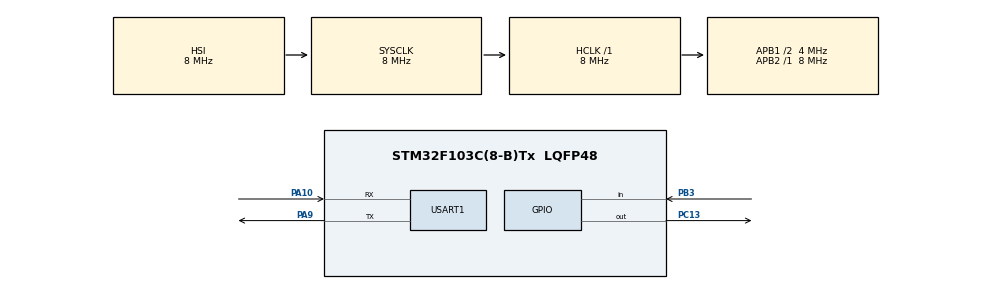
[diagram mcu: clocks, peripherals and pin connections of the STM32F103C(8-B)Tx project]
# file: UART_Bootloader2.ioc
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Mcu.Family=STM32F1
Mcu.Name=STM32F103C(8-B)Tx
Mcu.Package=LQFP48
NVIC.PriorityGroup=NVIC_PRIORITYGROUP_4
NVIC.USART1_IRQn=true\:0\:0\:false\:false\:true\:true\:true\:true
PA10.Mode=Asynchronous
PA10.Signal=USART1_RX
PA9.Mode=Asynchronous
PA9.Signal=USART1_TX
PB3.GPIO_PuPd=GPIO_PULLUP
PB3.Signal=GPIO_Input
PC13-TAMPER-RTC.Signal=GPIO_Output
PD0-OSC_IN.Mode=HSE-External-Oscillator
PD0-OSC_IN.Signal=RCC_OSC_IN
PD1-OSC_OUT.Mode=HSE-External-Oscillator
PD1-OSC_OUT.Signal=RCC_OSC_OUT
ProjectManager.HeapSize=0x200
ProjectManager.StackSize=0x400
ProjectManager.TargetToolchain=STM32CubeIDE
RCC.AHBFreq_Value=8000000
RCC.APB1CLKDivider=RCC_HCLK_DIV2
RCC.APB1Freq_Value=4000000
RCC.APB1TimFreq_Value=8000000
RCC.APB2Freq_Value=8000000
RCC.APB2TimFreq_Value=8000000
RCC.HCLKFreq_Value=8000000
RCC.PLLSourceVirtual=RCC_PLLSOURCE_HSE
RCC.SYSCLKFreq_VALUE=8000000
RCC.USBFreq_Value=16000000
USART1.VirtualMode=VM_ASYNC
VP_SYS_VS_ND.Mode=No_Debug
board=custom

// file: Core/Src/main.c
/* USER CODE BEGIN Header */
/**
  ******************************************************************************
  * @file           : main.c
  * @brief          : Main program body
  ******************************************************************************
  * @attention
  *
  * Copyright (c) 2025 STMicroelectronics.
  * All rights reserved.
  *
  * This software is licensed under terms that can be found in the LICENSE file
  * in the root directory of this software component.
  * If no LICENSE file comes with this software, it is provided AS-IS.
  *
  ******************************************************************************
  */
/* USER CODE END Header */
#include "main.h"

/* USER CODE BEGIN Includes */
#include<stdio.h>
#include<stdlib.h>
#include<string.h>

/* USER CODE END Includes */

/* USER CODE BEGIN PD */

#define BL_MAJOR 0
#define BL_MINOR 1
#define APP_ADDRESS 0x08004000U
#define FLASH_USER_START_ADDR   0x0800FC00
#define RX_BUFFER_SIZE 256 // Chunk boyutu

/* USER CODE END PD */

/* USER CODE BEGIN PM */

uint8_t BL_Version[2] = {BL_MAJOR, BL_MINOR};
typedef void (*pFunction)(void);
volatile uint8_t RxBuffer[RX_BUFFER_SIZE];
volatile uint8_t RxCpltFlag = 0; // Alım tamamlanınca 1 olacak bayrak

/* USER CODE END PM */

UART_HandleTypeDef huart1;

void SystemClock_Config(void);
static void MX_GPIO_Init(void);
static void MX_USART1_UART_Init(void);
/* USER CODE BEGIN PFP */

static int ota_download_and_flash(void);
void HAL_UART_RxCpltCallback(UART_HandleTypeDef *huart);

int __io_putchar(int ch) {
    HAL_UART_Transmit(&huart1, (uint8_t *)&ch, 1, HAL_MAX_DELAY);
    return ch;
}

void Flash_Write(uint32_t address, uint32_t data);
uint32_t Flash_Read(uint32_t address);

static void jump_to_app(void) {
    uint32_t app_stack = *(volatile uint32_t*)APP_ADDRESS;
    uint32_t app_reset_handler = *(volatile uint32_t*)(APP_ADDRESS + 4);
    pFunction app_entry = (pFunction)app_reset_handler;

    __disable_irq();

    // Periferalleri ve RCC’yi resetle
    HAL_RCC_DeInit();
    HAL_DeInit();

    // SysTick kapat
    SysTick->CTRL = 0;
    SysTick->LOAD = 0;
    SysTick->VAL  = 0;

    // MSP ayarla (stack pointer)
    __set_MSP(app_stack);

    // Vector Table’ı yeni uygulamaya yönlendir
    SCB->VTOR = APP_ADDRESS;

    __enable_irq();

    // Reset handler'a atla
    app_entry();

    // Buraya asla düşmemeli
    while (1);
}

/* USER CODE END PFP */

int main(void)
{

  /* MCU Configuration--------------------------------------------------------*/

  /* Reset of all peripherals, Initializes the Flash interface and the Systick. */
  HAL_Init();

  /* Configure the system clock */
  SystemClock_Config();

  /* Initialize all configured peripherals */
  MX_GPIO_Init();
  MX_USART1_UART_Init();
  /* USER CODE BEGIN 2 */

  printf("Press button to enter OTA mode (10s timeout)...\n");
  uint32_t timeout = HAL_GetTick() + 10000;
  GPIO_PinState button_state;
  do {
      button_state = HAL_GPIO_ReadPin(GPIOB, GPIO_PIN_3);
      if (button_state == GPIO_PIN_RESET || HAL_GetTick() > timeout) break;
  } while (1);

  if (button_state == GPIO_PIN_RESET) {
      // Enter UART update mode
      printf("Starting firmware download via UART...\n");
      printf("READY\n");
      if (ota_download_and_flash() != 0) {  // Implement this function (see below)
          printf("Update failed! Halting.\n");
          while (1);
      }
      printf("Update done! Resetting...\n");
      HAL_NVIC_SystemReset();
  } else {
      jump_to_app();  // Normal boot
  }

  /* USER CODE END 2 */

  /* Infinite loop */
  while (1)
  {

  }
}

void SystemClock_Config(void)
{
  RCC_OscInitTypeDef RCC_OscInitStruct = {0};
  RCC_ClkInitTypeDef RCC_ClkInitStruct = {0};

  /** Initializes the RCC Oscillators according to the specified parameters
  * in the RCC_OscInitTypeDef structure.
  */
  RCC_OscInitStruct.OscillatorType = RCC_OSCILLATORTYPE_HSI;
  RCC_OscInitStruct.HSIState = RCC_HSI_ON;
  RCC_OscInitStruct.HSICalibrationValue = RCC_HSICALIBRATION_DEFAULT;
  RCC_OscInitStruct.PLL.PLLState = RCC_PLL_NONE;
  if (HAL_RCC_OscConfig(&RCC_OscInitStruct) != HAL_OK)
  {
    Error_Handler();
  }

  /** Initializes the CPU, AHB and APB buses clocks
  */
  RCC_ClkInitStruct.ClockType = RCC_CLOCKTYPE_HCLK|RCC_CLOCKTYPE_SYSCLK
                              |RCC_CLOCKTYPE_PCLK1|RCC_CLOCKTYPE_PCLK2;
  RCC_ClkInitStruct.SYSCLKSource = RCC_SYSCLKSOURCE_HSI;
  RCC_ClkInitStruct.AHBCLKDivider = RCC_SYSCLK_DIV1;
  RCC_ClkInitStruct.APB1CLKDivider = RCC_HCLK_DIV2;
  RCC_ClkInitStruct.APB2CLKDivider = RCC_HCLK_DIV1;

  if (HAL_RCC_ClockConfig(&RCC_ClkInitStruct, FLASH_LATENCY_0) != HAL_OK)
  {
    Error_Handler();
  }
}

static void MX_USART1_UART_Init(void)
{

  huart1.Instance = USART1;
  huart1.Init.BaudRate = 115200;
  huart1.Init.WordLength = UART_WORDLENGTH_8B;
  huart1.Init.StopBits = UART_STOPBITS_1;
  huart1.Init.Parity = UART_PARITY_NONE;
  huart1.Init.Mode = UART_MODE_TX_RX;
  huart1.Init.HwFlowCtl = UART_HWCONTROL_NONE;
  huart1.Init.OverSampling = UART_OVERSAMPLING_16;
  if (HAL_UART_Init(&huart1) != HAL_OK)
  {
    Error_Handler();
  }

}

static void MX_GPIO_Init(void)
{
  GPIO_InitTypeDef GPIO_InitStruct = {0};

  /* GPIO Ports Clock Enable */
  __HAL_RCC_GPIOC_CLK_ENABLE();
  __HAL_RCC_GPIOD_CLK_ENABLE();
  __HAL_RCC_GPIOA_CLK_ENABLE();
  __HAL_RCC_GPIOB_CLK_ENABLE();

  /*Configure GPIO pin Output Level */
  HAL_GPIO_WritePin(GPIOC, GPIO_PIN_13, GPIO_PIN_RESET);

  /*Configure GPIO pin : PC13 */
  GPIO_InitStruct.Pin = GPIO_PIN_13;
  GPIO_InitStruct.Mode = GPIO_MODE_OUTPUT_PP;
  GPIO_InitStruct.Pull = GPIO_NOPULL;
  GPIO_InitStruct.Speed = GPIO_SPEED_FREQ_LOW;
  HAL_GPIO_Init(GPIOC, &GPIO_InitStruct);

  /*Configure GPIO pin : PB3 */
  GPIO_InitStruct.Pin = GPIO_PIN_3;
  GPIO_InitStruct.Mode = GPIO_MODE_INPUT;
  GPIO_InitStruct.Pull = GPIO_PULLUP;
  HAL_GPIO_Init(GPIOB, &GPIO_InitStruct);

}

/* USER CODE BEGIN 4 */

static int ota_download_and_flash(void)
{
    //uint8_t buffer[RX_BUFFER_SIZE];
    uint32_t fw_size = 0;
    uint32_t address = APP_ADDRESS;
    uint8_t header[8];

    HAL_FLASH_Unlock();

    FLASH_EraseInitTypeDef erase = {
        .TypeErase = FLASH_TYPEERASE_PAGES,
        .PageAddress = APP_ADDRESS,
        .NbPages = 48
    };
    uint32_t erase_error;
    if (HAL_FLASHEx_Erase(&erase, &erase_error) != HAL_OK) {
        printf("Flash silme hatasi! Kod: %lu\n", erase_error);
        HAL_FLASH_Lock();
        return -1;
    }
    printf("Flash silme basarili.\n");

    // Header alımını kontrol et
    HAL_StatusTypeDef header_status = HAL_UART_Receive(&huart1, header, 8, 5000);
    if (header_status != HAL_OK) {
        if (header_status == HAL_TIMEOUT) {
            printf("Header alma hatasi! Zaman asimi!\n");
        } else {
            printf("Header alma hatasi! Durum kodu: %d\n", header_status);
        }
        HAL_FLASH_Lock();
        return -1;
    }
    printf("OK\n");

    fw_size = *(uint32_t*)header;

    // Veri alma döngüsünü kontrol et
    while (fw_size > 0) {
        //uint32_t chunk_size = (fw_size > RX_BUFFER_SIZE) ? RX_BUFFER_SIZE : fw_size;
        //uint32_t bytes_received = 0;

        // YENİ ALIM DÖNGÜSÜ: Veriyi 4 baytlık küçük parçalar halinde al
        //uint32_t current_chunk_address = 0;
        //uint32_t remaining_bytes = chunk_size;
        //printf("recieve öncesi test mesajı\n");
        printf("SEND_CHUNK\n");

        //veri alma döngüsü
        while (fw_size > 0)
        {
            uint32_t chunk_size = (fw_size > RX_BUFFER_SIZE) ? RX_BUFFER_SIZE : fw_size;

            printf("SEND_CHUNK\n"); // Python'a gönderme izni

            // 1. Kesme tabanlı alımı başlat
            RxCpltFlag = 0; // Bayrağı sıfırla
            HAL_UART_Receive_IT(&huart1, (uint8_t*)RxBuffer, chunk_size);

            // 2. Alım tamamlanana kadar bekle
            uint32_t start_time = HAL_GetTick();
            while(RxCpltFlag == 0)
            {
                if((HAL_GetTick() - start_time) > 5000) // 5 saniye zaman aşımı
                {
                    // Kesme tabanlı alımı durdur
                    HAL_UART_AbortReceive(&huart1);
                    printf("HATA: KESME ZAMAN ASIMI!\n");
                    HAL_FLASH_Lock();
                    return -1;
                }
            }

            // 3. Flash'a yaz (Buffer artık RxBuffer olacak)
            for (uint32_t i = 0; i < chunk_size; i += 4) {
                uint32_t word;
                memcpy(&word, (uint8_t *)(RxBuffer + i), 4); // RxBuffer'dan oku
                if (HAL_FLASH_Program(FLASH_TYPEPROGRAM_WORD, address, word) != HAL_OK) {
                    printf("Flash yazma hatasi!\n");
                    HAL_FLASH_Lock();
                    return -1;
                }
                address += 4;
            }

            printf("OK\n"); // Chunk onayı
            fw_size -= chunk_size;
        }

    HAL_FLASH_Lock();
    printf("SUCCESS\n");
    printf("Firmware basariyla yazildi!\n");
    return 0;
}
    return 0;
}
void HAL_UART_RxCpltCallback(UART_HandleTypeDef *huart)
{
  if(huart->Instance == USART1)
  {
    RxCpltFlag = 1; // Başarıyla 256 bayt aldım, bayrağı yükselt.
  }
}

/* USER CODE END 4 */

void Error_Handler(void)
{
  __disable_irq();
  while (1)
  {
  }
}
